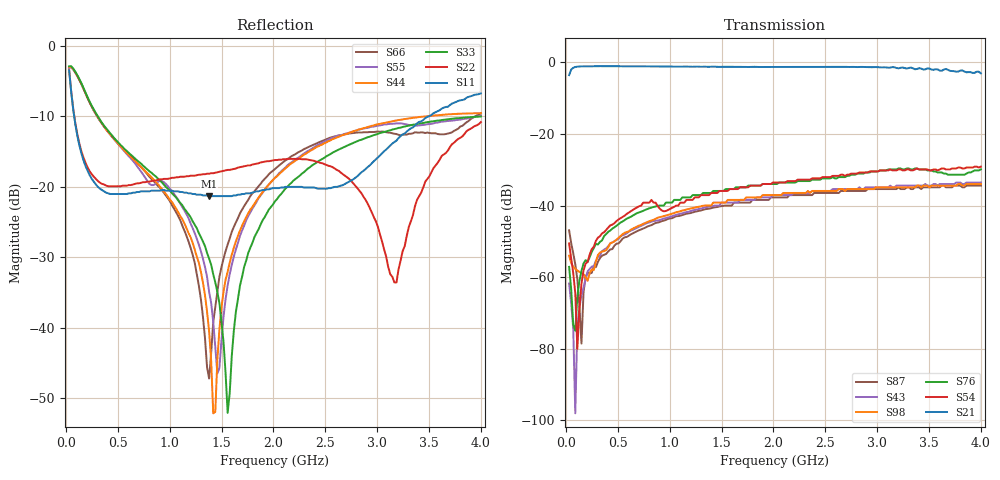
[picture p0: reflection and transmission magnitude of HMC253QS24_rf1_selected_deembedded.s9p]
!Hittite Microwave Corporation
!12 Elizabeth Drive
!Chelmsford, MA 01824
!Tel: 978-250-3343
!Fax: 978-250-3373
!Device: HMC253QS24, DC-2.5 GHz GaAS MMIC SP8T Non-Reflective Switch in 24-lead QSOP package
!Misc: Port 1 = RFCom, Port 2 = RF1, Port 3 = RF2, Port 4 = RF3, Port 5 = RF4, Port 6 = RF5, Port 7 = RF6, Port 8 = RF7, Port 9 = RF8, RF1 selected, Vdd=+5V
# MHZ S MA R 50
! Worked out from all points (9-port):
!   201 points, 30 MHz to 4 GHz, reference 50 ohm
!   strongest paths, dB at 30 MHz, 1.022 GHz, 2.015 GHz, 3.007 GHz, 4 GHz:
!     S21: -3.5, -1.2, -1.3, -1.3, -3.0
!     S54: -50.6, -40.6, -33.6, -30.5, -29.1
!     S76: -57.1, -39.2, -34.0, -30.5, -29.9
!     S98: -54.0, -42.3, -37.1, -34.9, -34.0
!     S43: -61.8, -43.0, -37.1, -34.9, -33.6
!     S87: -46.9, -43.5, -37.7, -35.4, -34.4
!   lowest |S11| = -21.3 dB at 1.38 GHz (marker M1), VSWR 1.19, Z = 57.1 - j5.93 ohm
!   |S11| at or under -10 dB: 78.98 MHz to 3.495 GHz (3.416 GHz wide, 191 % of centre)
